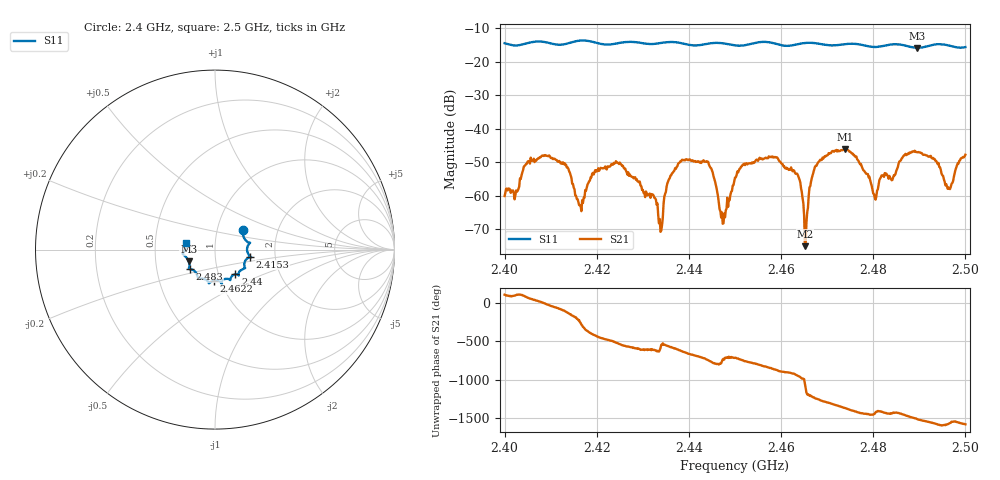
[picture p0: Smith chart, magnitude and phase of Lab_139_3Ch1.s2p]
# Hz S RI R 50
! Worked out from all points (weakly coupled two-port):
!   601 points, 2.4 GHz to 2.5 GHz, reference 50 ohm
!   highest |S21| = -46.05 dB at 2.4738 GHz (marker M1); lowest = -75.0 dB at 2.4652 GHz (marker M2)
!   lowest |S11| = -15.9 dB at 2.4895 GHz (marker M3), VSWR 1.38, Z = 37 - j4.99 ohm
!   |S11| at or under -10 dB: start of sweep to end of sweep
!   S12 and S22 are empty: the file has one direction only
!   S11 on the Smith chart (normalised r, x): 2.4 GHz: 1.33, +0.29; 2.4153 GHz: 1.48, -0.12; 2.44 GHz: 1.20, -0.34; 2.4622 GHz: 0.93, -0.33; 2.483 GHz: 0.74, -0.17; 2.5 GHz: 0.72, +0.06
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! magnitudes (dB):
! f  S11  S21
! 2.4 GHz  -14.5  -60.0
! 2.4087 GHz  -14.1  -47.9
! 2.4153 GHz  -14.0  -59.9
! 2.4167 GHz  -13.7  -64.5
! 2.4195 GHz  -14.2  -53.0
! 2.4245 GHz  -14.5  -50.1
! 2.4333 GHz  -14.6  -65.7
! 2.44 GHz  -15.0  -49.2
! 2.4443 GHz  -14.6  -50.6
! 2.4473 GHz  -14.5  -68.3
! 2.45 GHz  -15.1  -54.6
! 2.4622 GHz  -15.2  -51.5
! 2.464 GHz  -14.7  -55.1
! 2.4652 GHz  -14.5  -75.0
! 2.4667 GHz  -14.4  -54.7
! 2.4738 GHz  -14.8  -46.0
! 2.4803 GHz  -15.7  -60.5
! 2.483 GHz  -15.1  -53.8
! 2.4833 GHz  -15.0  -54.9
! 2.4895 GHz  -15.9  -47.0
! 2.4963 GHz  -15.2  -57.5
! 2.5 GHz  -15.7  -47.7
